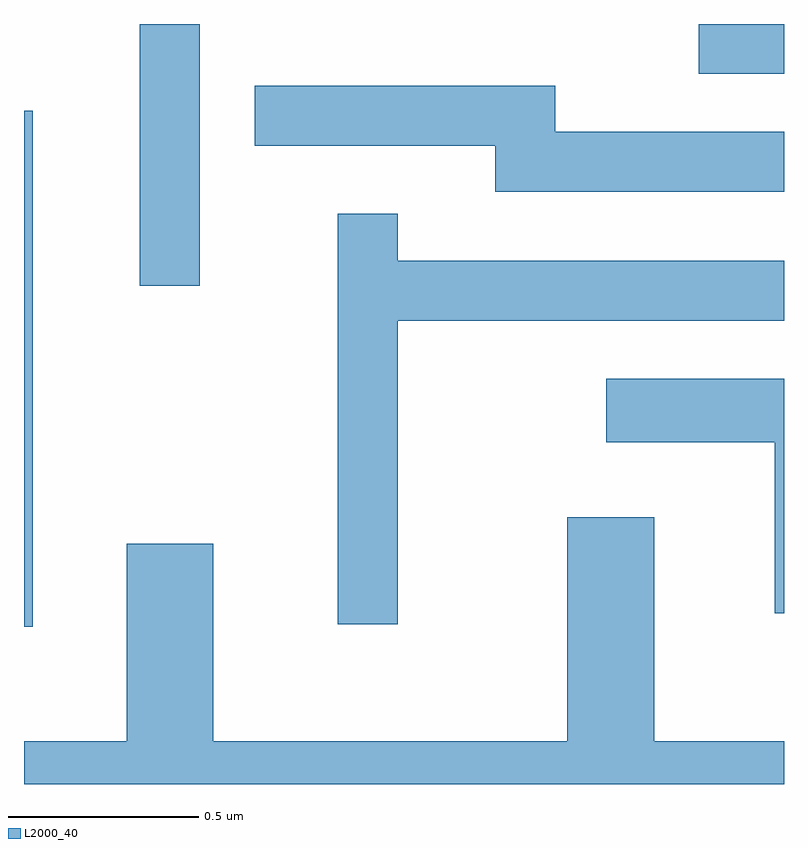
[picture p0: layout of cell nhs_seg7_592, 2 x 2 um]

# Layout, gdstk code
import gdstk
lib = gdstk.Library(unit=1e-6, precision=1e-09)
def R(c, l, rs):  # rectangles x0, y0, x1, y1
    for r in rs: c.add(gdstk.rectangle(r[:2], r[2:], *l))
def P(c, l, *ps):  # polygons
    for p in ps: c.add(gdstk.Polygon(p, *l))
L2000_40 = (2000, 40)

nhs_seg7_592 = lib.new_cell('nhs_seg7_592')
R(nhs_seg7_592, L2000_40, [(189.611,1712.666,189.634,1714.024), (189.916,1713.563,190.074,1714.252), (191.386,1714.121,191.611,1714.252)])
P(nhs_seg7_592, L2000_40, [(191.611,1713.969),(191.009,1713.969),(191.009,1714.089),(190.218,1714.089),(190.218,1713.931),(190.851,1713.931),(190.851,1713.811),(191.611,1713.811)],
  [(190.594,1713.471),(191.611,1713.471),(191.611,1713.629),(190.594,1713.629),(190.594,1713.753),(190.436,1713.753),(190.436,1712.673),(190.594,1712.673)],
  [(191.611,1713.319),(191.143,1713.319),(191.143,1713.151),(191.586,1713.151),(191.586,1712.701),(191.611,1712.701)],
  [(191.611,1712.364),(191.269,1712.364),(191.269,1712.954),(191.041,1712.954),(191.041,1712.364),(190.109,1712.364),(190.109,1712.884),(189.881,1712.884),(189.881,1712.364),(189.611,1712.364),(189.611,1712.252),(191.611,1712.252)])

lib.write_gds('nhs_seg7_592.gds')
